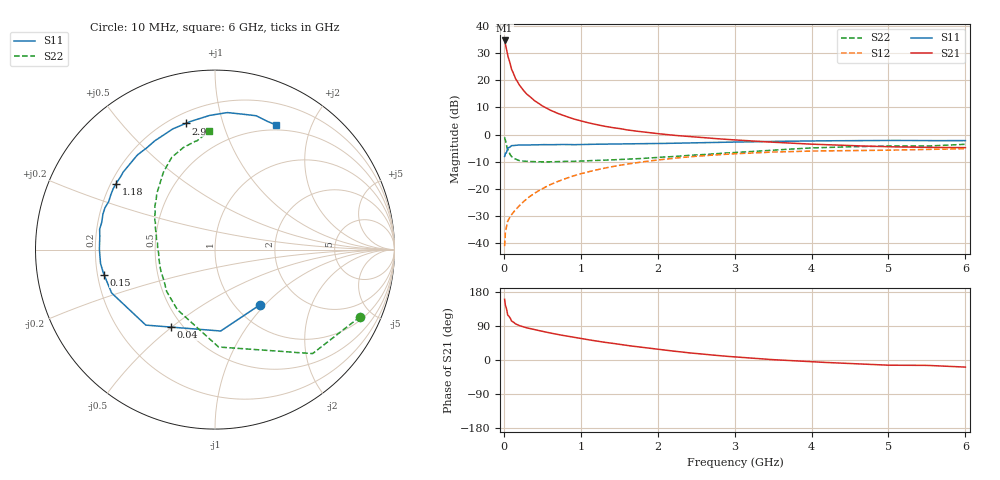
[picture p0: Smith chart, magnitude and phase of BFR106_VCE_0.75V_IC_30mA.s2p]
! Infineon Technologies  Discrete & RF Semiconductors
! BFR106
! VCE = 0.75 V,  IC =  30 mA
! Common Emitter S-Parameters:  Nov 2015
# GHz  S  MA  R  50
!  f  S11  S21  S12  S22
! GHz  MAG  ANG  MAG  ANG  MAG  ANG  MAG  ANG
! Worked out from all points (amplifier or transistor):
!   210 points, 10 MHz to 6 GHz, reference 50 ohm
!   highest |S21| = 34.5 dB at 10 MHz (marker M1)
!   |S21| within 3 dB of that: start of sweep to 32.63 MHz
!   unconditionally stable (mu >= 1): 258.7 MHz to end of sweep
!   at 185 MHz: K = 0.90, MSG = 22.8 dB, |S12| = -26.6 dB
!   at 1.52 GHz: K = 1.08, MAG = 5.0 dB, |S12| = -11.2 dB
!   at 6 GHz: K = 1.03, MAG = -0.8 dB, |S12| = -5.2 dB
!   S11 on the Smith chart (normalised r, x): 10 MHz: 1.28, -0.94; 40 MHz: 0.43, -0.50; 150 MHz: 0.23, -0.11; 1.18 GHz: 0.22, +0.29; 2.9 GHz: 0.26, +0.76; 6 GHz: 0.44, +1.51
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0.01  0.3965 -51.2  53.38 160.1  0.0089 75.5  0.8903 -24.9
0.02  0.4547 -86.0  46.24 144.6  0.0157 64.0  0.7947 -46.8
0.04  0.497 -119.7  33.34 130.4  0.0222 53.0  0.5881 -70.7
0.05  0.5706 -132.5  28.18 118.7  0.0256 49.6  0.5431 -87.9
0.1  0.6245 -157.2  15.81 102.9  0.0338 48.9  0.3949 -122.1
0.15  0.6346 -167.3  10.76 95.5  0.0412 53.8  0.3559 -139.3
0.2  0.6424 -173.1  8.191 90.9  0.049 57.5  0.3321 -149.1
0.26  0.6424 -177.9  6.337 86.8  0.0591 60.3  0.3246 -157.7
0.3  0.6441 179.8  5.488 84.7  0.0661 62.2  0.3219 -161.3
0.4  0.6448 174.3  4.165 79.9  0.0835 63.9  0.3174 -168.6
0.5  0.6527 170.0  3.353 75.6  0.1009 64.8  0.3149 -173.6
0.6  0.6491 166.4  2.818 71.3  0.1194 64.6  0.3149 -176.9
0.8  0.6559 159.2  2.164 63.7  0.1547 62.8  0.3208 177.0
1.02  0.657 151.5  1.748 56.1  0.1936 60.0  0.3261 171.9
1.18  0.6625 146.4  1.546 50.9  0.2199 57.5  0.3331 168.4
1.6  0.673 134.6  1.216 38.5  0.2859 50.2  0.3532 160.0
2.02  0.6832 123.5  1.031 27.8  0.3431 42.7  0.382 151.6
2.9  0.7215 103.0  0.814 9.8  0.4347 27.4  0.458 134.2
3.1  0.7296 99.2  0.78 6.7  0.4492 24.1  0.4757 130.5
4.1  0.7666 83.5  0.657 -5.7  0.4987 9.5  0.5723 113.5
5.1  0.778 71.9  0.592 -13.8  0.5189 -1.6  0.614 100.1
6  0.7729 64.0  0.574 -18.7  0.549 -10.0  0.6614 92.7
